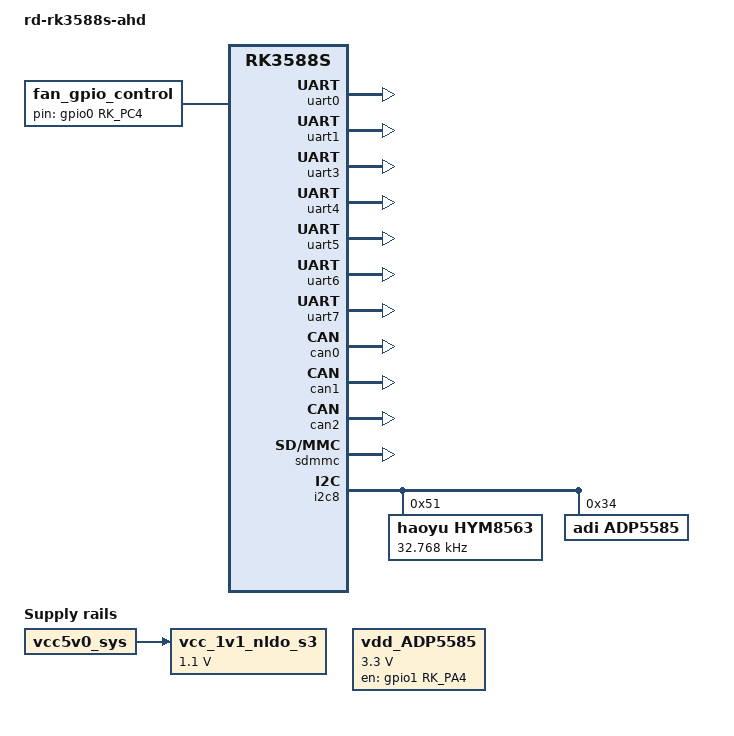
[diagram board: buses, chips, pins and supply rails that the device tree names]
/* board base */
//#include "rk3588s-evb4-lp4x-v10.dts"
#include "rp-rk3588s-board.dtsi"

#include "rp-tp-i2c4-gt911.dtsi"
#include "rd-rk3588s-ahd-lcd-gpio.dtsi"

/* usb */
#include "rp-usb-typea-rk3588.dtsi"
#include "rp-usb-host.dtsi"

/* ethernet */ 
#include "rp-eth-gmac1.dtsi"
#include "rp-eth-pcie2gmac-rk3588s.dtsi"
                
/* pcie */      
#include "rp-pcie-power-rk3588s.dtsi"

/* audio */
#include "rp-audio-rt5640.dtsi"

/* wifi/bt */
#include "rp-wifi-bt-ap6275p-rd-rk3588s-ahd.dtsi"

/* camera */
#include "rp-camera-dcphy0-mipi-xs9922b-rk3588s.dtsi"
#include "rp-camera-dcphy1-mipi-xs9922b-rk3588s.dtsi"
//#include "rp-camera-dphy0-imx415-rk3588s.dtsi"

#include "rp-lcd-hdmi0.dtsi"

/* mipi lcd */
//#include "rp-lcd-mipi0-5-720-1280-v2.dtsi"
//#include "rp-lcd-mipi0-5-720-1280-v2-boxTP.dtsi"
//#include "rp-lcd-mipi0-7-720-1280.dtsi"
#include "rp-lcd-mipi0-7-1024-600.dtsi"
//#include "rp-lcd-mipi0-8-800-1280-v3.dtsi"
//#include "rp-lcd-mipi0-8-1200-1920.dtsi"
//#include "rp-lcd-mipi0-10-800-1280-v2-JC101HD131.dtsi"
//#include "rp-lcd-mipi0-10-800-1280-v3.dtsi"
//#include "rp-lcd-mipi0-10-1200-1920.dtsi"
//#include "rp-lcd-mipi0-10-1920-1200-jc.dtsi"

/* edp lcd */
//#include "rp-lcd-rk3588s-edp0-13.3-15.6-1920-1080.dtsi"

/* mipi_to_lvds lcd */
//#include "rp-lcd-mipi1-gm8775-lvds-21-1920-1080.dtsi"
//#include "rp-lcd-mipi1-gm8775-lvds-10.1-1024-600.dtsi"


/* quadplex lcd */
//#include "rp-lcd-quadplex-mipi0-5-720-1280-v2-boxTP-mipi1-gm8775-lvds-10.1-1024-600-edp0-hdmi1.dtsi"
//#include "rp-lcd-quadplex-mipi0-5-720-1280-v2-boxTP-mipi1-gm8775-lvds-10.1-1024-600-hdmi0-hdmi1.dtsi"



/ {
    model = "rd-rk3588s-ahd";

	vcc_1v1_nldo_s3: vcc-1v1-nldo-s3 {
		compatible = "regulator-fixed";
		regulator-name = "vcc_1v1_nldo_s3";
		regulator-always-on;
		regulator-boot-on;
		regulator-min-microvolt = <1100000>;
		regulator-max-microvolt = <1100000>;
		vin-supply = <&vcc5v0_sys>;
	};

	 vdd_ADP5585: vdd_ADP5585 {   //vdd_5v vdd_3v3 enable
                compatible = "regulator-fixed";
                regulator-name = "vdd_ADP5585";
                regulator-always-on;
                regulator-boot-on;
                regulator-min-microvolt = <3300000>;
                regulator-max-microvolt = <3300000>;
                enable-active-high;
                gpio = <&gpio1 RK_PA4 GPIO_ACTIVE_HIGH>;  //注意驱动解析的是gpio还是gpios
                gpios = <&gpio1 RK_PA4 GPIO_ACTIVE_HIGH>;
                pinctrl-names = "default";
                pinctrl-0 = <&vdd_ADP5585_control>;
        };

	fan_gpio_control {
            compatible = "fan_gpio_control";
            gpio-pin = <&gpio0 RK_PC4 GPIO_ACTIVE_HIGH>;
            thermal-zone = "soc-thermal";
            threshold-temp = <60000>; //60C
            running-time = <10000>; //10s
            status = "okay";
        };

	rp_power{
                status = "okay";
                compatible = "rp_power";
                rp_not_deep_sleep = <1>;

//#define GPIO_FUNCTION_OUTPUT 0
//#define GPIO_FUNCTION_INPUT 1
//#define GPIO_FUNCTION_IRQ 2
//#define GPIO_FUNCTION_FLASH 3
//#define GPIO_FUNCTION_OUTPUT_CTRL 4
/*	
		vdd_5v_3v3 {   
                        gpio_num = <&gpio3 RK_PC2 GPIO_ACTIVE_HIGH>;
                        gpio_function = <4>;
                };
*/
		//fan {   
                //        gpio_num = <&gpio0 RK_PC4 GPIO_ACTIVE_HIGH>;
                //        gpio_function = <4>;
                //};

		led {  
                        gpio_num = <&gpio3 RK_PC6 GPIO_ACTIVE_HIGH>;
                        gpio_function = <3>;
                };

		usb-host-power {
                        gpio_num = <&gpio1 RK_PC6 GPIO_ACTIVE_HIGH>;
                        gpio_function = <4>;
                };
	
		usb-hub-reset {  
                        gpio_num = <&gpio1 RK_PD5 GPIO_ACTIVE_LOW>;
                        gpio_function = <4>;
                };
	
		otg_vdd5v {
                        gpio_num = <&gpio1 RK_PC4 GPIO_ACTIVE_HIGH>;
                        gpio_function = <4>;
                };

		sd-pwren {
                        gpio_num = <&gpio0 RK_PD3 GPIO_ACTIVE_HIGH>;
                        gpio_function = <4>;
                };

		vdd_gps { //gpio_r0
                        gpio_num = <&adp5585_gpio 0 GPIO_ACTIVE_HIGH>;
                        gpio_function = <4>;
                };

                vdd_4g { //gpio_r1
                        gpio_num = <&adp5585_gpio 1 GPIO_ACTIVE_HIGH>;
                        gpio_function = <4>;
                };
	};

        rp_gpio{
                status = "okay";
                compatible = "rp_gpio";
		
		gpio_r2 {
                        gpio_num = <&adp5585_gpio 2 GPIO_ACTIVE_HIGH>;
                        gpio_function = <0>;
                };

		gpio_r3 {
                        gpio_num = <&adp5585_gpio 3 GPIO_ACTIVE_HIGH>;
                        gpio_function = <0>;
                };

		gpio_r4 {
                        gpio_num = <&adp5585_gpio 4 GPIO_ACTIVE_HIGH>;
                        gpio_function = <0>;
                };
		
		gpio_c0 {
                        gpio_num = <&adp5585_gpio 5 GPIO_ACTIVE_HIGH>;
                        gpio_function = <0>;
                };

		gpio_c1 {
                        gpio_num = <&adp5585_gpio 6 GPIO_ACTIVE_HIGH>;
                        gpio_function = <0>;
                };

		gpio_c2 {
                        gpio_num = <&adp5585_gpio 7 GPIO_ACTIVE_HIGH>;
                        gpio_function = <0>;
                };
		
		gpio_c3 {
                        gpio_num = <&adp5585_gpio 8 GPIO_ACTIVE_HIGH>;
                        gpio_function = <0>;
                };

		gpio_c4 {
                        gpio_num = <&adp5585_gpio 9 GPIO_ACTIVE_HIGH>;
                        gpio_function = <0>;
                };
        };
};


&uart0 {
	status = "okay";
	pinctrl-names = "default";
	pinctrl-0 = <&uart0m2_xfer>;
};

&uart1 {
	status = "okay";
	pinctrl-names = "default";
	pinctrl-0 = <&uart1m1_xfer>;
};

&uart3 {
	status = "okay";
	pinctrl-names = "default";
	pinctrl-0 = <&uart3m2_xfer>;
};

&uart4 {
	status = "okay";
	pinctrl-names = "default";
	pinctrl-0 = <&uart4m2_xfer>;
};


&uart5 {  //485
	status = "okay";
	pinctrl-names = "default";
	pinctrl-0 = <&uart5m1_xfer>;
};

&uart6 {
	status = "okay";
	pinctrl-names = "default";
	pinctrl-0 = <&uart6m1_xfer>;
};

&uart7 {
	status = "okay";
	pinctrl-names = "default";
	pinctrl-0 = <&uart7m2_xfer>;
};

&fiq_debugger {
	rockchip,baudrate = <115200>;
};


&can0 {
	assigned-clocks = <&cru CLK_CAN0>;
	assigned-clock-rates = <200000000>;
	status = "okay";
	pinctrl-names = "default";
	pinctrl-0 = <&can0m0_pins>;
};

&can1 {
	assigned-clocks = <&cru CLK_CAN1>;
	assigned-clock-rates = <200000000>;
	status = "okay";
	pinctrl-names = "default";
	pinctrl-0 = <&can1m1_pins>;
};

&can2 {
	assigned-clocks = <&cru CLK_CAN2>;
	assigned-clock-rates = <200000000>;
	status = "okay";
	pinctrl-names = "default";
	pinctrl-0 = <&can2m1_pins>;
};

&sdmmc {
	status = "okay";
  /delete-property/ vmmc-supply;
};

&rk_headset {
  headset_gpio = <&gpio1 RK_PC0 GPIO_ACTIVE_HIGH>;
};


&i2c8 {
	status = "okay";
	pinctrl-names = "default";
	pinctrl-0 = <&i2c8m2_xfer>;

	hym8563: hym8563@51 {
		compatible = "haoyu,hym8563";
		reg = <0x51>;
		#clock-cells = <0>;
		clock-frequency = <32768>;
		clock-output-names = "hym8563";
	};

	adp5585: mfd-gpio@34 {
        	compatible = "adi,adp5585";
        	reg = <0x34>;
        	status = "okay";

        	adp5585_gpio: gpio-normal@34 {
            		compatible = "adp5585-gpio";
            		gpio-controller;
            		#gpio-cells = <2>;
        	};
        
        	// adp5585pwm: pwm@34 {
            		// compatible = "adp5585-pwm";
            		// #pwm-cells = <3>;
       		// };
    };
};

&dmc {
	status = "disabled";
};

&pinctrl {
	vdd-ADP5585 {
                vdd_ADP5585_control: vdd-ADP5585-control {
                        rockchip,pins =
                        /** power supply enable pin */
                        <1 RK_PA4 RK_FUNC_GPIO &pcfg_pull_none>;
                };
        };

};

&display_subsystem {
clocks = <&hdptxphy_hdmi_clk0>, <&hdptxphy_hdmi_clk1>;
clock-names = "hdmi0_phy_pll", "hdmi1_phy_pll";
};

&hdptxphy_hdmi_clk0 {
            status = "okay";
};

&hdptxphy_hdmi_clk1 {
            status = "okay";
};
